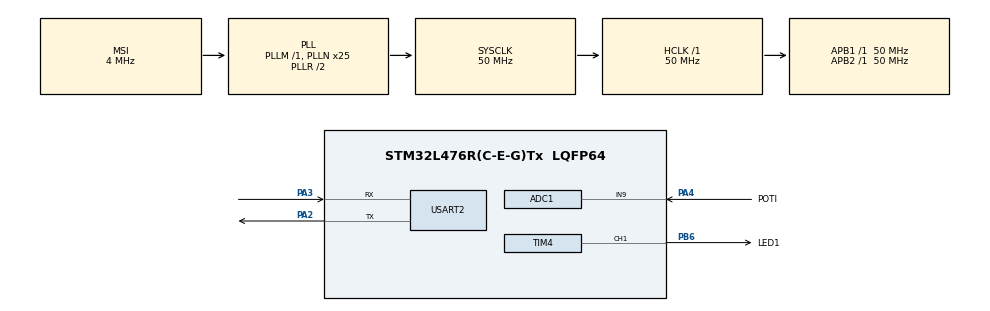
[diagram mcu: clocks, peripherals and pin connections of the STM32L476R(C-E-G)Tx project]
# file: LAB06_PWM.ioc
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ADC1.Channel-0\#ChannelRegularConversion=ADC_CHANNEL_9
ADC1.ContinuousConvMode=ENABLE
ADC1.NbrOfConversionFlag=1
ADC1.OffsetNumber-0\#ChannelRegularConversion=ADC_OFFSET_NONE
ADC1.Overrun=ADC_OVR_DATA_OVERWRITTEN
ADC1.Rank-0\#ChannelRegularConversion=1
ADC1.SamplingTime-0\#ChannelRegularConversion=ADC_SAMPLETIME_12CYCLES_5
ADC1.master=1
Mcu.Family=STM32L4
Mcu.Name=STM32L476R(C-E-G)Tx
Mcu.Package=LQFP64
NVIC.PriorityGroup=NVIC_PRIORITYGROUP_4
PA2.Mode=Asynchronous
PA2.Signal=USART2_TX
PA3.Mode=Asynchronous
PA3.Signal=USART2_RX
PA4.GPIO_Label=POTI
PA4.Signal=ADCx_IN9
PB6.GPIO_Label=LED1
PB6.Signal=S_TIM4_CH1
ProjectManager.HeapSize=0x200
ProjectManager.StackSize=0x400
ProjectManager.TargetToolchain=STM32CubeIDE
RCC.ADCFreq_Value=32000000
RCC.AHBFreq_Value=50000000
RCC.APB1Freq_Value=50000000
RCC.APB1TimFreq_Value=50000000
RCC.APB2Freq_Value=50000000
RCC.APB2TimFreq_Value=50000000
RCC.CortexFreq_Value=50000000
RCC.HCLKFreq_Value=50000000
RCC.HSE_VALUE=8000000
RCC.HSI_VALUE=16000000
RCC.LSE_VALUE=32768
RCC.MSI_VALUE=4000000
RCC.PLLN=25
RCC.PLLSAI1N=16
RCC.SYSCLKFreq_VALUE=50000000
RCC.SYSCLKSource=RCC_SYSCLKSOURCE_PLLCLK
RCC.USBFreq_Value=32000000
RCC.VCOOutputFreq_Value=100000000
SH.ADCx_IN9.0=ADC1_IN9,IN9-Single-Ended
SH.S_TIM4_CH1.0=TIM4_CH1,PWM Generation1 CH1
TIM4.Channel-PWM\ Generation1\ CH1=TIM_CHANNEL_1
TIM4.Period=5000
TIM4.Prescaler=9
USART2.VirtualMode-Asynchronous=VM_ASYNC
board=custom

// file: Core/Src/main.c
/* USER CODE BEGIN Header */
/**
 * @file main.c
 * @brief PWM timer exercise.
 * @author Philipp Schilk, 2023
 */
/* USER CODE END Header */
#include "main.h"

/* USER CODE BEGIN Includes */
#include <inttypes.h>
#include <math.h>
#include <stdio.h>
/* USER CODE END Includes */

/* USER CODE BEGIN PM */
#define TODO  0
#define sq(x) (x) * (x)
/* USER CODE END PM */

ADC_HandleTypeDef hadc1;

TIM_HandleTypeDef htim4;

UART_HandleTypeDef huart2;

void SystemClock_Config(void);
static void MX_GPIO_Init(void);
static void MX_USART2_UART_Init(void);
static void MX_ADC1_Init(void);
static void MX_TIM4_Init(void);
/* USER CODE BEGIN PFP */

static float gaussian(float x);

/* USER CODE END PFP */

int main(void) {

  /* MCU Configuration--------------------------------------------------------*/

  /* Reset of all peripherals, Initializes the Flash interface and the Systick. */
  HAL_Init();

  /* Configure the system clock */
  SystemClock_Config();

  /* Initialize all configured peripherals */
  MX_GPIO_Init();
  MX_USART2_UART_Init();
  MX_ADC1_Init();
  MX_TIM4_Init();
  /* USER CODE BEGIN 2 */

  // === STEP 1: Start ADC and Timer ===

  // TODO: Start the timer PWM output on the appropriate channel. If
  //       an error occurs, print a message and call Error_Handler().
  if (HAL_TIM_PWM_Start(&htim4, TIM_CHANNEL_1) != HAL_OK) {
    printf("ERROR initialising timer PWM\r\n");
    Error_Handler();
  }
  // TODO: Start the ADC. If an error occurs, print a message and
  //       call Error_Handler().
  if (HAL_ADC_Start(&hadc1) != HAL_OK) {
    printf("ERROR initialising ADC\r\n");
    Error_Handler();
  }

  /* USER CODE END 2 */

  /* Infinite loop */
  /* USER CODE BEGIN WHILE */
  while (1) {

    // Loop over 100 points in the gaussian:
    for (uint32_t i = 0; i <= 100; i++) {

      // === STEP 3: Control LED brightness ===

      // Convert step index to x position between 0 and 1:
      float x = i / 100.0;

      // TODO: Calculate desired LED brightness (0.0-1.0) using your gaussian function
      //       and determine the appropriate CCR register value to achieve that duty
      //       cycle:
      float brightness = gaussian(x); // range [0,1] => brightness in % of total brightness
      const int pulse_width = 5000 * brightness; // truncation error should be negligible

      // TODO: Update the CCR register to adjust the duty cycle:
      __HAL_TIM_SET_COMPARE(&htim4, TIM_CHANNEL_1, pulse_width); // god this macro is awful

      // === STEP 4: Poti-position controlled delay. ===

      // TODO: Get the latest ADC reading:
      uint32_t result_raw = HAL_ADC_GetValue(&hadc1);

      // TODO: Convert the 12-bit value to a period between 1 and 50ms:
      int ms = ((float)result_raw / (float)(0x1000 - 1)) * 50;

      // TODO: Call HAL_Delay with that delay:
      HAL_Delay(ms);
    }

    /* USER CODE END WHILE */

  }
}

void SystemClock_Config(void) {
  RCC_OscInitTypeDef RCC_OscInitStruct = {0};
  RCC_ClkInitTypeDef RCC_ClkInitStruct = {0};

  /** Configure the main internal regulator output voltage
   */
  if (HAL_PWREx_ControlVoltageScaling(PWR_REGULATOR_VOLTAGE_SCALE1) != HAL_OK) {
    Error_Handler();
  }

  /** Initializes the RCC Oscillators according to the specified parameters
   * in the RCC_OscInitTypeDef structure.
   */
  RCC_OscInitStruct.OscillatorType = RCC_OSCILLATORTYPE_MSI;
  RCC_OscInitStruct.MSIState = RCC_MSI_ON;
  RCC_OscInitStruct.MSICalibrationValue = 0;
  RCC_OscInitStruct.MSIClockRange = RCC_MSIRANGE_6;
  RCC_OscInitStruct.PLL.PLLState = RCC_PLL_ON;
  RCC_OscInitStruct.PLL.PLLSource = RCC_PLLSOURCE_MSI;
  RCC_OscInitStruct.PLL.PLLM = 1;
  RCC_OscInitStruct.PLL.PLLN = 25;
  RCC_OscInitStruct.PLL.PLLP = RCC_PLLP_DIV7;
  RCC_OscInitStruct.PLL.PLLQ = RCC_PLLQ_DIV2;
  RCC_OscInitStruct.PLL.PLLR = RCC_PLLR_DIV2;
  if (HAL_RCC_OscConfig(&RCC_OscInitStruct) != HAL_OK) {
    Error_Handler();
  }

  /** Initializes the CPU, AHB and APB buses clocks
   */
  RCC_ClkInitStruct.ClockType = RCC_CLOCKTYPE_HCLK | RCC_CLOCKTYPE_SYSCLK | RCC_CLOCKTYPE_PCLK1 | RCC_CLOCKTYPE_PCLK2;
  RCC_ClkInitStruct.SYSCLKSource = RCC_SYSCLKSOURCE_PLLCLK;
  RCC_ClkInitStruct.AHBCLKDivider = RCC_SYSCLK_DIV1;
  RCC_ClkInitStruct.APB1CLKDivider = RCC_HCLK_DIV1;
  RCC_ClkInitStruct.APB2CLKDivider = RCC_HCLK_DIV1;

  if (HAL_RCC_ClockConfig(&RCC_ClkInitStruct, FLASH_LATENCY_3) != HAL_OK) {
    Error_Handler();
  }
}

static void MX_ADC1_Init(void) {

  ADC_MultiModeTypeDef multimode = {0};
  ADC_ChannelConfTypeDef sConfig = {0};

  /** Common config
   */
  hadc1.Instance = ADC1;
  hadc1.Init.ClockPrescaler = ADC_CLOCK_ASYNC_DIV1;
  hadc1.Init.Resolution = ADC_RESOLUTION_12B;
  hadc1.Init.DataAlign = ADC_DATAALIGN_RIGHT;
  hadc1.Init.ScanConvMode = ADC_SCAN_DISABLE;
  hadc1.Init.EOCSelection = ADC_EOC_SINGLE_CONV;
  hadc1.Init.LowPowerAutoWait = DISABLE;
  hadc1.Init.ContinuousConvMode = ENABLE;
  hadc1.Init.NbrOfConversion = 1;
  hadc1.Init.DiscontinuousConvMode = DISABLE;
  hadc1.Init.ExternalTrigConv = ADC_SOFTWARE_START;
  hadc1.Init.ExternalTrigConvEdge = ADC_EXTERNALTRIGCONVEDGE_NONE;
  hadc1.Init.DMAContinuousRequests = DISABLE;
  hadc1.Init.Overrun = ADC_OVR_DATA_OVERWRITTEN;
  hadc1.Init.OversamplingMode = DISABLE;
  if (HAL_ADC_Init(&hadc1) != HAL_OK) {
    Error_Handler();
  }

  /** Configure the ADC multi-mode
   */
  multimode.Mode = ADC_MODE_INDEPENDENT;
  if (HAL_ADCEx_MultiModeConfigChannel(&hadc1, &multimode) != HAL_OK) {
    Error_Handler();
  }

  /** Configure Regular Channel
   */
  sConfig.Channel = ADC_CHANNEL_9;
  sConfig.Rank = ADC_REGULAR_RANK_1;
  sConfig.SamplingTime = ADC_SAMPLETIME_12CYCLES_5;
  sConfig.SingleDiff = ADC_SINGLE_ENDED;
  sConfig.OffsetNumber = ADC_OFFSET_NONE;
  sConfig.Offset = 0;
  if (HAL_ADC_ConfigChannel(&hadc1, &sConfig) != HAL_OK) {
    Error_Handler();
  }
}

static void MX_TIM4_Init(void) {

  TIM_MasterConfigTypeDef sMasterConfig = {0};
  TIM_OC_InitTypeDef sConfigOC = {0};

  htim4.Instance = TIM4;
  htim4.Init.Prescaler = 9;
  htim4.Init.CounterMode = TIM_COUNTERMODE_UP;
  htim4.Init.Period = 5000;
  htim4.Init.ClockDivision = TIM_CLOCKDIVISION_DIV1;
  htim4.Init.AutoReloadPreload = TIM_AUTORELOAD_PRELOAD_DISABLE;
  if (HAL_TIM_PWM_Init(&htim4) != HAL_OK) {
    Error_Handler();
  }
  sMasterConfig.MasterOutputTrigger = TIM_TRGO_RESET;
  sMasterConfig.MasterSlaveMode = TIM_MASTERSLAVEMODE_DISABLE;
  if (HAL_TIMEx_MasterConfigSynchronization(&htim4, &sMasterConfig) != HAL_OK) {
    Error_Handler();
  }
  sConfigOC.OCMode = TIM_OCMODE_PWM1;
  sConfigOC.Pulse = 0;
  sConfigOC.OCPolarity = TIM_OCPOLARITY_HIGH;
  sConfigOC.OCFastMode = TIM_OCFAST_DISABLE;
  if (HAL_TIM_PWM_ConfigChannel(&htim4, &sConfigOC, TIM_CHANNEL_1) != HAL_OK) {
    Error_Handler();
  }
  HAL_TIM_MspPostInit(&htim4);
}

static void MX_USART2_UART_Init(void) {

  huart2.Instance = USART2;
  huart2.Init.BaudRate = 115200;
  huart2.Init.WordLength = UART_WORDLENGTH_8B;
  huart2.Init.StopBits = UART_STOPBITS_1;
  huart2.Init.Parity = UART_PARITY_NONE;
  huart2.Init.Mode = UART_MODE_TX_RX;
  huart2.Init.HwFlowCtl = UART_HWCONTROL_NONE;
  huart2.Init.OverSampling = UART_OVERSAMPLING_16;
  huart2.Init.OneBitSampling = UART_ONE_BIT_SAMPLE_DISABLE;
  huart2.AdvancedInit.AdvFeatureInit = UART_ADVFEATURE_NO_INIT;
  if (HAL_UART_Init(&huart2) != HAL_OK) {
    Error_Handler();
  }
}

static void MX_GPIO_Init(void) {

  /* GPIO Ports Clock Enable */
  __HAL_RCC_GPIOA_CLK_ENABLE();
  __HAL_RCC_GPIOB_CLK_ENABLE();

}

/* USER CODE BEGIN 4 */
static float gaussian(float x) {
  // === STEP 2: Gaussian ===
  // TODO: Implement the gaussian curve described in the exercise
  //       handout.
  return expf(-30 * sq(x - 0.5)); // I have become one with the c and have used a macro
} // yes, this is silly
// but yk what, actually,
// no, inline constexpr fns are still the best way to go if possible
// else just inline fns

// or use a rust macro
// i found the rust embedded crate for this particular architecture
// maybe i should try using the nightly compiler and try the embedded rust side
// i think that would be a fun project
// yeah i think i'll do that after this exercise
// thanks for coming to my TED talk

/* USER CODE END 4 */

void Error_Handler(void) {
  /* USER CODE BEGIN Error_Handler_Debug */
  /* User can add his own implementation to report the HAL error return state */
  while (1) {
    printf("Stuck in error handler :(\r\n");
    HAL_Delay(5000);
  }
  /* USER CODE END Error_Handler_Debug */
}
